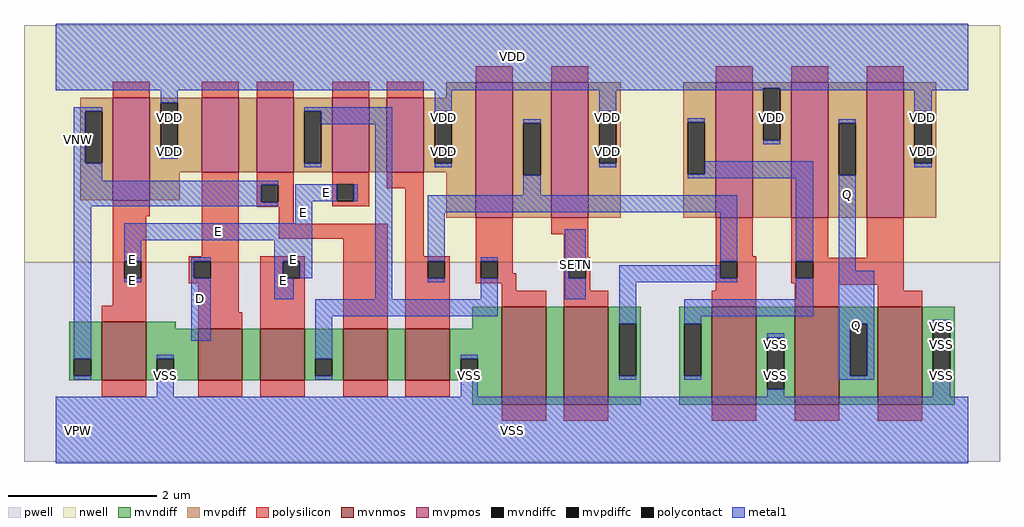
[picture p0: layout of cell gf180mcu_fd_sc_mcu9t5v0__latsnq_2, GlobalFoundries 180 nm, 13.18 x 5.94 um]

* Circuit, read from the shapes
.subckt gf180mcu_fd_sc_mcu9t5v0__latsnq_2 D E SETN Q VDD VNW VPW VSS
XM1 VSS E n1 VPW nfet_06v0 w=0.79u l=0.6u
XM2 n2 D VSS VPW nfet_06v0 w=0.7u l=0.6u
XM3 n3 E n2 VPW nfet_06v0 w=0.7u l=0.6u
XM4 n4 n1 n3 VPW nfet_06v0 w=0.7u l=0.6u
XM5 VSS n5 n4 VPW nfet_06v0 w=0.7u l=0.6u
XM6 n6 n3 VSS VPW nfet_06v0 w=1.32u l=0.6u
XM7 n5 SETN n6 VPW nfet_06v0 w=1.32u l=0.6u
XM8 VSS n5 n7 VPW nfet_06v0 w=1.32u l=0.6u
XM9 Q n7 VSS VPW nfet_06v0 w=1.32u l=0.6u m=2
XM10 VDD E n1 VNW pfet_06v0 w=1.38u l=0.5u
XM11 n8 D VDD VNW pfet_06v0 w=1u l=0.5u
XM12 n3 n1 n8 VNW pfet_06v0 w=1u l=0.5u
XM13 n9 E n3 VNW pfet_06v0 w=1u l=0.5u
XM14 VDD n5 n9 VNW pfet_06v0 w=1u l=0.5u
XM15 n5 n3 VDD VNW pfet_06v0 w=1.83u l=0.5u
XM16 VDD SETN n5 VNW pfet_06v0 w=1.83u l=0.5u
XM17 VDD n5 n7 VNW pfet_06v0 w=1.83u l=0.5u
XM18 Q n7 VDD VNW pfet_06v0 w=1.83u l=0.5u m=2
.ends

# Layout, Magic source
magic
tech gf180mcuD
magscale 1 10
<< nwell >>
rect -86 453 2550 1094
<< pwell >>
rect -86 -86 2550 453
<< mvnmos >>
rect 124 134 244 292
rect 384 134 504 274
rect 552 134 672 274
rect 776 134 896 274
rect 944 134 1064 274
rect 1204 69 1324 333
rect 1372 69 1492 333
rect 1772 69 1892 333
rect 1996 69 2116 333
rect 2220 69 2340 333
<< mvpmos >>
rect 154 621 254 897
rect 394 697 494 897
rect 542 697 642 897
rect 746 697 846 897
rect 894 697 994 897
rect 1134 573 1234 939
rect 1338 573 1438 939
rect 1782 573 1882 939
rect 1986 573 2086 939
rect 2190 573 2290 939
<< mvndiff >>
rect 36 193 124 292
rect 36 147 49 193
rect 95 147 124 193
rect 36 134 124 147
rect 244 274 324 292
rect 1124 274 1204 333
rect 244 193 384 274
rect 244 147 273 193
rect 319 147 384 193
rect 244 134 384 147
rect 504 134 552 274
rect 672 193 776 274
rect 672 147 701 193
rect 747 147 776 193
rect 672 134 776 147
rect 896 134 944 274
rect 1064 193 1204 274
rect 1064 147 1093 193
rect 1139 147 1204 193
rect 1064 134 1204 147
rect 1124 69 1204 134
rect 1324 69 1372 333
rect 1492 287 1580 333
rect 1492 147 1521 287
rect 1567 147 1580 287
rect 1492 69 1580 147
rect 1684 287 1772 333
rect 1684 147 1697 287
rect 1743 147 1772 287
rect 1684 69 1772 147
rect 1892 250 1996 333
rect 1892 110 1921 250
rect 1967 110 1996 250
rect 1892 69 1996 110
rect 2116 287 2220 333
rect 2116 147 2145 287
rect 2191 147 2220 287
rect 2116 69 2220 147
rect 2340 287 2428 333
rect 2340 147 2369 287
rect 2415 147 2428 287
rect 2340 69 2428 147
<< mvpdiff >>
rect 1054 897 1134 939
rect 66 861 154 897
rect 66 721 79 861
rect 125 721 154 861
rect 66 621 154 721
rect 254 884 394 897
rect 254 744 283 884
rect 329 744 394 884
rect 254 697 394 744
rect 494 697 542 897
rect 642 861 746 897
rect 642 721 671 861
rect 717 721 746 861
rect 642 697 746 721
rect 846 697 894 897
rect 994 861 1134 897
rect 994 721 1023 861
rect 1069 721 1134 861
rect 994 697 1134 721
rect 254 621 334 697
rect 1054 573 1134 697
rect 1234 829 1338 939
rect 1234 689 1263 829
rect 1309 689 1338 829
rect 1234 573 1338 689
rect 1438 861 1526 939
rect 1438 721 1467 861
rect 1513 721 1526 861
rect 1438 573 1526 721
rect 1694 831 1782 939
rect 1694 691 1707 831
rect 1753 691 1782 831
rect 1694 573 1782 691
rect 1882 923 1986 939
rect 1882 783 1911 923
rect 1957 783 1986 923
rect 1882 573 1986 783
rect 2086 829 2190 939
rect 2086 689 2115 829
rect 2161 689 2190 829
rect 2086 573 2190 689
rect 2290 861 2378 939
rect 2290 721 2319 861
rect 2365 721 2378 861
rect 2290 573 2378 721
<< mvndiffc >>
rect 49 147 95 193
rect 273 147 319 193
rect 701 147 747 193
rect 1093 147 1139 193
rect 1521 147 1567 287
rect 1697 147 1743 287
rect 1921 110 1967 250
rect 2145 147 2191 287
rect 2369 147 2415 287
<< mvpdiffc >>
rect 79 721 125 861
rect 283 744 329 884
rect 671 721 717 861
rect 1023 721 1069 861
rect 1263 689 1309 829
rect 1467 721 1513 861
rect 1707 691 1753 831
rect 1911 783 1957 923
rect 2115 689 2161 829
rect 2319 721 2365 861
<< polysilicon >>
rect 154 897 254 941
rect 394 897 494 941
rect 542 897 642 941
rect 746 897 846 941
rect 894 897 994 941
rect 1134 939 1234 983
rect 1338 939 1438 983
rect 1782 939 1882 983
rect 1986 939 2086 983
rect 2190 939 2290 983
rect 154 577 254 621
rect 154 456 244 577
rect 394 469 494 697
rect 542 662 642 697
rect 542 616 555 662
rect 601 616 642 662
rect 542 603 642 616
rect 746 664 846 697
rect 746 618 759 664
rect 805 618 846 664
rect 894 653 994 697
rect 746 605 846 618
rect 602 557 642 603
rect 602 517 896 557
rect 154 410 185 456
rect 231 410 244 456
rect 154 336 244 410
rect 359 456 494 469
rect 359 410 372 456
rect 418 410 494 456
rect 359 397 494 410
rect 124 292 244 336
rect 384 318 494 397
rect 552 456 672 469
rect 552 410 613 456
rect 659 410 672 456
rect 384 274 504 318
rect 552 274 672 410
rect 776 274 896 517
rect 944 469 994 653
rect 944 456 1064 469
rect 944 410 1005 456
rect 1051 410 1064 456
rect 944 274 1064 410
rect 1134 456 1234 573
rect 1338 529 1438 573
rect 1134 410 1147 456
rect 1193 424 1234 456
rect 1372 467 1438 529
rect 1782 469 1882 573
rect 1372 456 1444 467
rect 1193 410 1244 424
rect 1134 397 1244 410
rect 1204 377 1244 397
rect 1372 410 1385 456
rect 1431 410 1444 456
rect 1372 377 1444 410
rect 1782 456 1892 469
rect 1782 410 1795 456
rect 1841 410 1892 456
rect 1782 377 1892 410
rect 1986 465 2086 573
rect 2190 465 2290 573
rect 1986 456 2290 465
rect 1986 410 1999 456
rect 2045 410 2290 456
rect 1986 397 2290 410
rect 1204 333 1324 377
rect 1372 333 1492 377
rect 1772 333 1892 377
rect 1996 393 2290 397
rect 1996 333 2116 393
rect 2220 377 2290 393
rect 2220 333 2340 377
rect 124 90 244 134
rect 384 90 504 134
rect 552 90 672 134
rect 776 90 896 134
rect 944 90 1064 134
rect 1204 25 1324 69
rect 1372 25 1492 69
rect 1772 25 1892 69
rect 1996 25 2116 69
rect 2220 25 2340 69
<< polycontact >>
rect 555 616 601 662
rect 759 618 805 664
rect 185 410 231 456
rect 372 410 418 456
rect 613 410 659 456
rect 1005 410 1051 456
rect 1147 410 1193 456
rect 1385 410 1431 456
rect 1795 410 1841 456
rect 1999 410 2045 456
<< metal1 >>
rect 0 923 2464 1098
rect 0 918 1911 923
rect 283 884 329 918
rect 49 861 125 872
rect 49 721 79 861
rect 283 733 329 744
rect 671 861 908 872
rect 49 673 125 721
rect 717 826 908 861
rect 671 710 717 721
rect 49 662 601 673
rect 49 616 555 662
rect 49 605 601 616
rect 647 618 759 664
rect 805 618 816 664
rect 49 193 95 605
rect 647 559 693 618
rect 185 513 693 559
rect 185 456 231 513
rect 185 399 231 410
rect 366 456 418 467
rect 366 410 372 456
rect 366 242 418 410
rect 590 456 693 513
rect 590 410 613 456
rect 659 410 693 456
rect 590 354 642 410
rect 862 353 908 826
rect 1023 861 1069 918
rect 1467 861 1513 918
rect 1023 710 1069 721
rect 1263 829 1309 840
rect 1467 710 1513 721
rect 1707 831 1753 842
rect 1263 634 1309 689
rect 1957 918 2464 923
rect 2319 861 2365 918
rect 1911 772 1957 783
rect 2115 829 2161 840
rect 1753 691 2045 726
rect 1707 680 2045 691
rect 1005 588 1841 634
rect 1005 456 1051 588
rect 1005 399 1051 410
rect 1147 456 1193 467
rect 1147 353 1193 410
rect 1374 456 1431 542
rect 1374 410 1385 456
rect 1795 456 1841 588
rect 1374 354 1431 410
rect 1521 410 1795 445
rect 1521 399 1841 410
rect 1999 456 2045 680
rect 701 307 1193 353
rect 49 136 95 147
rect 273 193 319 204
rect 273 90 319 147
rect 701 193 747 307
rect 1521 287 1567 399
rect 1999 353 2045 410
rect 701 136 747 147
rect 1093 193 1139 204
rect 1093 90 1139 147
rect 1521 136 1567 147
rect 1697 307 2045 353
rect 2319 710 2365 721
rect 2115 430 2161 689
rect 1697 287 1743 307
rect 2115 287 2210 430
rect 1697 136 1743 147
rect 1921 250 1967 261
rect 2115 147 2145 287
rect 2191 147 2210 287
rect 2115 136 2210 147
rect 2369 287 2415 298
rect 1921 90 1967 110
rect 2369 90 2415 147
rect 0 -90 2464 90
<< labels >>
flabel metal1 s 366 242 418 467 0 FreeSans 200 0 0 0 D
port 1 nsew default input
flabel metal1 s 647 618 816 664 0 FreeSans 200 0 0 0 E
port 2 nsew clock input
flabel metal1 s 2115 430 2161 840 0 FreeSans 200 0 0 0 Q
port 4 nsew default output
flabel metal1 s 1374 354 1431 542 0 FreeSans 200 0 0 0 SETN
port 3 nsew default input
flabel metal1 s 0 918 2464 1098 0 FreeSans 200 0 0 0 VDD
port 5 nsew power bidirectional abutment
flabel metal1 s 2369 261 2415 298 0 FreeSans 200 0 0 0 VSS
port 8 nsew ground bidirectional abutment
flabel nwell s 10 734 110 834 0 FreeSans 400 0 0 0 VNW
port 6 nsew power bidirectional
flabel pwell s 10 -50 110 50 0 FreeSans 400 0 0 0 VPW
port 7 nsew ground bidirectional
rlabel metal1 s 647 559 693 618 1 E
port 2 nsew clock input
rlabel metal1 s 185 513 693 559 1 E
port 2 nsew clock input
rlabel metal1 s 590 410 693 513 1 E
port 2 nsew clock input
rlabel metal1 s 185 410 231 513 1 E
port 2 nsew clock input
rlabel metal1 s 590 399 642 410 1 E
port 2 nsew clock input
rlabel metal1 s 185 399 231 410 1 E
port 2 nsew clock input
rlabel metal1 s 590 354 642 399 1 E
port 2 nsew clock input
rlabel metal1 s 2115 136 2210 430 1 Q
port 4 nsew default output
rlabel metal1 s 2319 772 2365 918 1 VDD
port 5 nsew power bidirectional abutment
rlabel metal1 s 1911 772 1957 918 1 VDD
port 5 nsew power bidirectional abutment
rlabel metal1 s 1467 772 1513 918 1 VDD
port 5 nsew power bidirectional abutment
rlabel metal1 s 1023 772 1069 918 1 VDD
port 5 nsew power bidirectional abutment
rlabel metal1 s 283 772 329 918 1 VDD
port 5 nsew power bidirectional abutment
rlabel metal1 s 2319 733 2365 772 1 VDD
port 5 nsew power bidirectional abutment
rlabel metal1 s 1467 733 1513 772 1 VDD
port 5 nsew power bidirectional abutment
rlabel metal1 s 1023 733 1069 772 1 VDD
port 5 nsew power bidirectional abutment
rlabel metal1 s 283 733 329 772 1 VDD
port 5 nsew power bidirectional abutment
rlabel metal1 s 2319 710 2365 733 1 VDD
port 5 nsew power bidirectional abutment
rlabel metal1 s 1467 710 1513 733 1 VDD
port 5 nsew power bidirectional abutment
rlabel metal1 s 1023 710 1069 733 1 VDD
port 5 nsew power bidirectional abutment
rlabel metal1 s 2369 204 2415 261 1 VSS
port 8 nsew ground bidirectional abutment
rlabel metal1 s 1921 204 1967 261 1 VSS
port 8 nsew ground bidirectional abutment
rlabel metal1 s 2369 90 2415 204 1 VSS
port 8 nsew ground bidirectional abutment
rlabel metal1 s 1921 90 1967 204 1 VSS
port 8 nsew ground bidirectional abutment
rlabel metal1 s 1093 90 1139 204 1 VSS
port 8 nsew ground bidirectional abutment
rlabel metal1 s 273 90 319 204 1 VSS
port 8 nsew ground bidirectional abutment
rlabel metal1 s 0 -90 2464 90 1 VSS
port 8 nsew ground bidirectional abutment
<< properties >>
string FIXED_BBOX 0 0 2464 1008
string GDS_END 1061222
string GDS_FILE $PDKPATH/libs.ref/gf180mcu_fd_sc_mcu9t5v0/gds/gf180mcu_fd_sc_mcu9t5v0.gds
string GDS_START 1054434
string LEFclass core
string LEFsite GF018hv5v_green_sc9
string LEFsymmetry X Y
<< end >>
